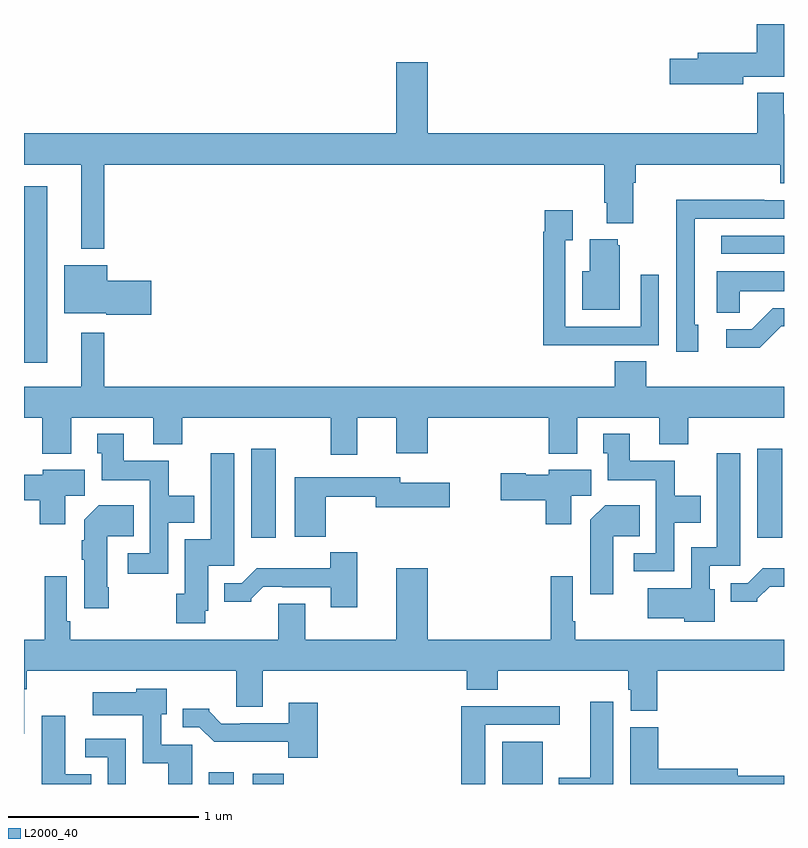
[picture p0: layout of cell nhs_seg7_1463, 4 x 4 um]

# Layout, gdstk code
import gdstk
lib = gdstk.Library(unit=1e-6, precision=1e-09)
def R(c, l, rs):  # rectangles x0, y0, x1, y1
    for r in rs: c.add(gdstk.rectangle(r[:2], r[2:], *l))
def P(c, l, *ps):  # polygons
    for p in ps: c.add(gdstk.Polygon(p, *l))
L2000_40 = (2000, 40)

nhs_seg7_1463 = lib.new_cell('nhs_seg7_1463')
R(nhs_seg7_1463, L2000_40, [(211.973,1020,212.104,1020.061), (212.204,1020,212.366,1020.055), (213.518,1020,213.73,1020.223), (212.195,1021.296,212.326,1021.765), (214.859,1021.296,214.99,1021.765), (214.671,1022.79,215,1022.886)])
P(nhs_seg7_1463, L2000_40, [(214.786,1023.722),(215,1023.722),(215,1024),(214.856,1024),(214.856,1023.848),(214.547,1023.848),(214.547,1023.818),(214.398,1023.818),(214.398,1023.683),(214.786,1023.683)],
  [(211.423,1023.26),(214.055,1023.26),(214.055,1023.058),(214.067,1023.058),(214.067,1022.951),(214.207,1022.951),(214.207,1023.164),(214.22,1023.164),(214.22,1023.26),(214.979,1023.26),(214.979,1023.161),(215,1023.161),(215,1023.525),(214.999,1023.525),(214.999,1023.637),(214.859,1023.637),(214.859,1023.424),(213.124,1023.424),(213.124,1023.799),(212.96,1023.799),(212.96,1023.424),(211,1023.424),(211,1023.26),(211.301,1023.26),(211.301,1022.816),(211.423,1022.816)],
  [(211.123,1023.145),(211,1023.145),(211,1022.87),(211.002,1022.87),(211.002,1022.217),(211.123,1022.217)],
  [(214.549,1022.418),(214.53,1022.418),(214.53,1022.976),(215,1022.976),(215,1023.072),(214.895,1023.072),(214.895,1023.074),(214.432,1023.074),(214.432,1022.767),(214.434,1022.767),(214.434,1022.274),(214.549,1022.274)],
  [(214.025,1022.31),(214.341,1022.31),(214.341,1022.68),(214.245,1022.68),(214.245,1022.406),(213.849,1022.406),(213.849,1022.863),(213.889,1022.863),(213.889,1023.019),(213.741,1023.019),(213.741,1022.906),(213.733,1022.906),(213.733,1022.309),(214.025,1022.309)],
  [(214.135,1022.835),(214.124,1022.835),(214.124,1022.866),(213.977,1022.866),(213.977,1022.698),(213.938,1022.698),(213.938,1022.495),(214.135,1022.495)],
  [(211.669,1022.648),(211.438,1022.648),(211.438,1022.731),(211.211,1022.731),(211.211,1022.477),(211.434,1022.477),(211.434,1022.47),(211.669,1022.47)],
  [(214.767,1022.594),(215,1022.594),(215,1022.698),(214.646,1022.698),(214.646,1022.479),(214.767,1022.479)],
  [(214.986,1022.409),(215,1022.409),(215,1022.505),(214.94,1022.505),(214.829,1022.394),(214.695,1022.394),(214.695,1022.297),(214.873,1022.297)],
  [(211.301,1022.374),(211.301,1022.092),(211,1022.092),(211,1021.928),(211.097,1021.928),(211.097,1021.739),(211.249,1021.739),(211.249,1021.928),(211.679,1021.928),(211.679,1021.787),(211.832,1021.787),(211.832,1021.928),(212.615,1021.928),(212.615,1021.734),(212.755,1021.734),(212.755,1021.928),(212.96,1021.928),(212.96,1021.74),(213.124,1021.74),(213.124,1021.928),(213.761,1021.928),(213.761,1021.739),(213.913,1021.739),(213.913,1021.928),(214.343,1021.928),(214.343,1021.787),(214.496,1021.787),(214.496,1021.928),(215,1021.928),(215,1022.092),(214.274,1022.092),(214.274,1022.225),(214.109,1022.225),(214.109,1022.092),(211.423,1022.092),(211.423,1022.374)],
  [(211.758,1021.376),(211.897,1021.376),(211.897,1021.516),(211.761,1021.516),(211.761,1021.702),(211.525,1021.702),(211.525,1021.843),(211.385,1021.843),(211.385,1021.74),(211.409,1021.74),(211.409,1021.598),(211.662,1021.598),(211.662,1021.215),(211.545,1021.215),(211.545,1021.107),(211.758,1021.107)],
  [(214.422,1021.376),(214.561,1021.376),(214.561,1021.516),(214.425,1021.516),(214.425,1021.702),(214.189,1021.702),(214.189,1021.843),(214.049,1021.843),(214.049,1021.74),(214.073,1021.74),(214.073,1021.598),(214.326,1021.598),(214.326,1021.215),(214.209,1021.215),(214.209,1021.119),(214.422,1021.119)],
  [(214.636,1021.026),(214.608,1021.026),(214.608,1021.149),(214.771,1021.149),(214.771,1021.741),(214.646,1021.741),(214.646,1021.246),(214.512,1021.246),(214.512,1021.03),(214.284,1021.03),(214.284,1020.872),(214.476,1020.872),(214.476,1020.854),(214.636,1020.854)],
  [(211.953,1020.912),(211.969,1020.912),(211.969,1021.149),(212.107,1021.149),(212.107,1021.741),(211.982,1021.741),(211.982,1021.288),(211.847,1021.288),(211.847,1021.002),(211.801,1021.002),(211.801,1020.846),(211.953,1020.846)],
  [(211.216,1021.516),(211.321,1021.516),(211.321,1021.654),(211.098,1021.654),(211.098,1021.627),(211,1021.627),(211,1021.493),(211.082,1021.493),(211.082,1021.368),(211.216,1021.368)],
  [(213.88,1021.516),(213.985,1021.516),(213.985,1021.654),(213.762,1021.654),(213.762,1021.627),(213.642,1021.627),(213.642,1021.635),(213.51,1021.635),(213.51,1021.493),(213.746,1021.493),(213.746,1021.368),(213.88,1021.368)],
  [(212.588,1021.513),(212.852,1021.513),(212.852,1021.456),(213.241,1021.456),(213.241,1021.585),(212.98,1021.585),(212.98,1021.614),(212.426,1021.614),(212.426,1021.301),(212.588,1021.301)],
  [(211.446,1021.036),(211.438,1021.036),(211.438,1021.304),(211.577,1021.304),(211.577,1021.468),(211.394,1021.468),(211.316,1021.39),(211.316,1021.283),(211.304,1021.283),(211.304,1021.18),(211.316,1021.18),(211.316,1020.924),(211.446,1020.924)],
  [(214.102,1021.304),(214.241,1021.304),(214.241,1021.468),(214.058,1021.468),(213.98,1021.39),(213.98,1020.999),(214.102,1020.999)],
  [(212.755,1021.219),(212.613,1021.219),(212.613,1021.135),(212.224,1021.135),(212.145,1021.056),(212.054,1021.056),(212.054,1020.959),(212.196,1020.959),(212.196,1020.974),(212.26,1021.038),(212.359,1021.038),(212.359,1021.035),(212.615,1021.035),(212.615,1020.93),(212.755,1020.93)],
  [(214.86,1020.974),(214.924,1021.038),(215,1021.038),(215,1021.135),(214.888,1021.135),(214.809,1021.056),(214.721,1021.056),(214.721,1020.959),(214.86,1020.959)],
  [(213.329,1020.497),(213.494,1020.497),(213.494,1020.596),(214.181,1020.596),(214.181,1020.495),(214.193,1020.495),(214.193,1020.385),(214.334,1020.385),(214.334,1020.596),(215,1020.596),(215,1020.76),(213.901,1020.76),(213.901,1020.856),(213.888,1020.856),(213.888,1021.093),(213.772,1021.093),(213.772,1020.76),(213.124,1020.76),(213.124,1021.135),(212.96,1021.135),(212.96,1020.76),(212.479,1020.76),(212.479,1020.95),(212.339,1020.95),(212.339,1020.76),(211.244,1020.76),(211.244,1020.856),(211.224,1020.856),(211.224,1021.093),(211.108,1021.093),(211.108,1020.76),(211,1020.76),(211,1020.264),(211.002,1020.264),(211.002,1020.5),(211.015,1020.5),(211.015,1020.596),(212.117,1020.596),(212.117,1020.406),(212.257,1020.406),(212.257,1020.596),(213.329,1020.596)],
  [(211.885,1020.207),(211.722,1020.207),(211.722,1020.366),(211.75,1020.366),(211.75,1020.502),(211.59,1020.502),(211.59,1020.484),(211.362,1020.484),(211.362,1020.362),(211.626,1020.362),(211.626,1020.11),(211.76,1020.11),(211.76,1020),(211.885,1020)],
  [(214.102,1020.433),(213.98,1020.433),(213.98,1020.034),(213.815,1020.034),(213.815,1020),(214.102,1020)],
  [(212.546,1020.427),(212.393,1020.427),(212.393,1020.321),(212.137,1020.321),(212.137,1020.318),(212.038,1020.318),(211.974,1020.382),(211.974,1020.397),(211.835,1020.397),(211.835,1020.3),(211.923,1020.3),(212.002,1020.222),(212.391,1020.222),(212.391,1020.137),(212.546,1020.137)],
  [(213.427,1020.312),(213.82,1020.312),(213.82,1020.41),(213.302,1020.41),(213.302,1020),(213.427,1020)],
  [(211.355,1020.052),(211.216,1020.052),(211.216,1020.358),(211.094,1020.358),(211.094,1020),(211.355,1020)],
  [(215,1020.044),(214.756,1020.044),(214.756,1020.08),(214.337,1020.08),(214.337,1020.3),(214.19,1020.3),(214.19,1020),(215,1020)],
  [(211.536,1020.237),(211.323,1020.237),(211.323,1020.141),(211.44,1020.141),(211.44,1020),(211.536,1020)])

lib.write_gds('nhs_seg7_1463.gds')
